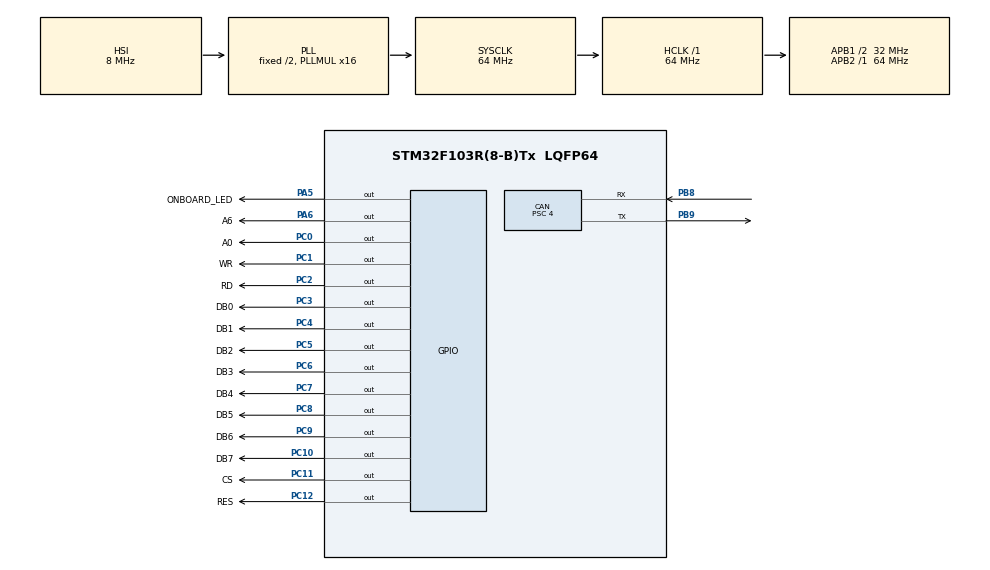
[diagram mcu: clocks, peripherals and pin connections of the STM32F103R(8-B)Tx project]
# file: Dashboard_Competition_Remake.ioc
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CAN.BS1=CAN_BS1_13TQ
CAN.BS2=CAN_BS2_2TQ
CAN.CalculateBaudRate=500000
CAN.CalculateTimeBit=2000
CAN.CalculateTimeQuantum=125.0
CAN.Prescaler=4
Mcu.Family=STM32F1
Mcu.Name=STM32F103R(8-B)Tx
Mcu.Package=LQFP64
NVIC.PriorityGroup=NVIC_PRIORITYGROUP_4
NVIC.USB_LP_CAN1_RX0_IRQn=true\:0\:0\:false\:false\:true\:true\:true\:true
PA5.GPIO_Label=ONBOARD_LED
PA5.Signal=GPIO_Output
PA6.GPIO_Label=A6
PA6.Signal=GPIO_Output
PB8.Mode=CAN_Activate
PB8.Signal=CAN_RX
PB9.Mode=CAN_Activate
PB9.Signal=CAN_TX
PC0.GPIO_Label=A0
PC0.Signal=GPIO_Output
PC1.GPIO_Label=WR
PC1.Signal=GPIO_Output
PC10.GPIO_Label=DB7
PC10.Signal=GPIO_Output
PC11.GPIO_Label=CS
PC11.Signal=GPIO_Output
PC12.GPIO_Label=RES
PC12.Signal=GPIO_Output
PC2.GPIO_Label=RD
PC2.Signal=GPIO_Output
PC3.GPIO_Label=DB0
PC3.Signal=GPIO_Output
PC4.GPIO_Label=DB1
PC4.Signal=GPIO_Output
PC5.GPIO_Label=DB2
PC5.Signal=GPIO_Output
PC6.GPIO_Label=DB3
PC6.Signal=GPIO_Output
PC7.GPIO_Label=DB4
PC7.Signal=GPIO_Output
PC8.GPIO_Label=DB5
PC8.Signal=GPIO_Output
PC9.GPIO_Label=DB6
PC9.Signal=GPIO_Output
ProjectManager.HeapSize=0x200
ProjectManager.StackSize=0x400
ProjectManager.TargetToolchain=STM32CubeIDE
RCC.AHBFreq_Value=64000000
RCC.APB1CLKDivider=RCC_HCLK_DIV2
RCC.APB1Freq_Value=32000000
RCC.APB1TimFreq_Value=64000000
RCC.APB2Freq_Value=64000000
RCC.APB2TimFreq_Value=64000000
RCC.HCLKFreq_Value=64000000
RCC.PLLMUL=RCC_PLL_MUL16
RCC.SYSCLKFreq_VALUE=64000000
RCC.SYSCLKSource=RCC_SYSCLKSOURCE_PLLCLK
RCC.USBFreq_Value=64000000
VP_SYS_VS_ND.Mode=No_Debug
board=custom

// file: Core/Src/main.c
/* USER CODE BEGIN Header */
/**
  ******************************************************************************
  * @file           : main.c
  * @brief          : Main program body
  ******************************************************************************
  * @attention
  *
  * Copyright (c) 2022 STMicroelectronics.
  * All rights reserved.
  *
  * This software is licensed under terms that can be found in the LICENSE file
  * in the root directory of this software component.
  * If no LICENSE file comes with this software, it is provided AS-IS.
  *
  ******************************************************************************
  */
/* USER CODE END Header */
#include "main.h"
#include "can.h"
#include "gpio.h"

/* USER CODE BEGIN Includes */
#include "LCD.h"
#include <time.h>

/* USER CODE END Includes */

/* USER CODE BEGIN PM */

#define TRUE 1
#define FALSE 0

#define MC_BASE 0x500
#define BATT_BASE 0x620
#define ARR_BASE 0x700
#define MCB_BASE 0x400
#define LV_BASE 0x450
#define FAULTS 0x622

#define CRUISE_TARGET 234 // Placeholder values
#define REGEN 543 // Placeholder values

#define FILTER_LEN 9

#define NUM_PAGES 4
#define PAGE_0 0
#define PAGE_1 1
#define PAGE_2 2
#define PAGE_3 3

#define TIMEOUT 10

#define GETBIT(var, bit)	(((var) >> (bit)) & 1) // gives bit position

/* USER CODE END PM */

/* USER CODE BEGIN PV */

CAN_FilterTypeDef CAN_filter0;
CAN_FilterTypeDef CAN_filter1;

CAN_RxHeaderTypeDef CAN_rx_header;
uint8_t CAN_rx_data[8];

union {
	float float_var;
	uint8_t chars[4];
}vel;

union {
	float float_var;
	uint8_t chars[4];
}cur;

union {
	float float_var;
	uint8_t chars[4];
} u;

uint8_t recent_warnings[4]; // [LV Warn, HV Warn, LT Warn, HT Warn]

/* USER CODE END PV */

void SystemClock_Config(void);

/* USER CODE BEGIN 0 */

/**
 * Initialize Dashboard LED lights
 */
void InitLEDs(void)
{

	RCC->APB2ENR |= 0x1UL << 2; 		//Initialize clock for GPIOA, if it hasn't been initialized yet
	GPIOA->CRL &= 0;
	GPIOA->CRH &= 0;
	GPIOA->CRL |= 0x33330033UL;			//Set pins A1, A4, A5, A6, A7 to be Push-Pull Output, 50Mhz
	GPIOA->CRH |= 0x30033333UL;			//SetBar pins A8, A9, A10 to be Push-Pull Output, 50Mhz

	RCC->APB2ENR |= 0x1;
	AFIO->MAPR |= 0x2 << 24;
	//GPIOA->BSRR = 0xFFFF;

	//GPIOA->BSRR = 0x1 << 11;

	GPIOA->BRR = 0xFFFF;

}

/**
 * Called when warning CAN message received
 * Updates recent_warnings array with latest warnings
 */
void parse_warnings(void)
{
	uint8_t temp_byte = CAN_rx_data[1]; // Contains bits 8-15, 15 14 13 12 11 10 9 8
	uint8_t low_voltage_warning = GETBIT(temp_byte, 6);
	uint8_t high_voltage_warning = GETBIT(temp_byte, 7);
	uint8_t low_temperature_warning = GETBIT(temp_byte, 8);

	temp_byte = CAN_rx_data[2]; // Contains bits 16-23, 23 22 21 20 19 18 17 16
	uint8_t high_temperature_warning = GETBIT(temp_byte, 0);

	/* Update Warnings */
	recent_warnings[0] = low_voltage_warning;
	recent_warnings[1] = high_voltage_warning;
	recent_warnings[2] = low_temperature_warning;
	recent_warnings[3] = high_temperature_warning;
}

/* USER CODE END 0 */

int main(void)
{
  /* USER CODE BEGIN 1 */

  int32_t tempInt32;
  uint8_t c = 0;
  uint8_t d = 0;

  /* USER CODE END 1 */

  /* MCU Configuration--------------------------------------------------------*/

  /* Reset of all peripherals, Initializes the Flash interface and the Systick. */
  HAL_Init();

  /* USER CODE BEGIN Init */

  /*
   * Page Layout
   * Page 0: Main Page
   * Page 1: Warnings
   * Page 2: Current Summary
   * Page 3: Pack Summary (Voltage + Temperature)
   */

  // Page initialized to Page 0
  uint8_t current_page = 2;

  /* USER CODE END Init */

  /* Configure the system clock */
  SystemClock_Config();

  /* Initialize all configured peripherals */
  MX_GPIO_Init();
  MX_CAN_Init();
  /* USER CODE BEGIN 2 */

  CanFilterSetup();
  HAL_CAN_Start(&hcan);

  // Commented Clock Setup as it is already done in the ioc
  //Setup System Clock C
  // RCC->APB2ENR &= 0;
  // RCC->APB2ENR |= 0x1UL << 4;

  // Commented Pinout setup as it is already done in the ioc
  //Setup Pins C5 - C12 as OUTPUT
  // GPIOC->CRL &= 0;
  // GPIOC->CRH &= 0;
  // GPIOC->CRL |= 0x33333333UL; //Initialise C0 to C7
  // GPIOC->CRH |= 0x33333UL; //Initialise C8 to C12

  //Set Pin initial values
  GPIOC->BSRR = 0x1UL << 0;	 // C0 HIGH
  GPIOC->BSRR = 0x1UL << 1;	 // C1 HIGH
  GPIOC->BSRR = 0x1UL << 2;	 // C2 HIGH
  GPIOC->BRR = 0x1UL << 11;	 // C11 LOW
  GPIOC->BSRR = 0x1UL << 12;   //C12 HIGH

  ScreenSetup();

  // Check if this is required!
  InitLEDs();

  /* USER CODE END 2 */

  /* Infinite loop */
  /* USER CODE BEGIN WHILE */
  while (1)
  {
		HAL_GPIO_WritePin(GPIOA, GPIO_PIN_6, 1);
		HAL_Delay(1000);
		HAL_GPIO_WritePin(GPIOA, GPIO_PIN_6, 0);
		HAL_Delay(1000);

	// Check if message is available
//	if (HAL_CAN_GetRxFifoFillLevel(&hcan, CAN_RX_FIFO0) != 0)
	if (1)
	{
		// Populate CAN header and data variables (CAN_rx_header/data is updated respectively)
		//HAL_CAN_GetRxMessage(&hcan, CAN_RX_FIFO0, &CAN_rx_header, CAN_rx_data);

//		uint16_t received_CAN_ID = (uint16_t) CAN_rx_header.StdId;
		uint16_t received_CAN_ID = 0x622;

		/* Check for CAN message that is incoming to change the page
		 * This CAN message comes from the MCB
		 * The current_page is simply incremented by +1.
		 * if (current_page + 1 == NUM_PAGES) set current_page = 0
		 */

		uint8_t button_pressed = FALSE;
		uint8_t cruise_enabled = FALSE;

		if (received_CAN_ID == MCB_BASE)
		{
			/* Check for Button Press
			 * Bit 0 = button press event
			 * Bit 1 = cruise enabled
			 */
			uint8_t mcb_data = CAN_rx_data[0];

			/* For Cruise Enabled:
			 * - If Enabled, display the cruise velocity on page 1
			 * - If Disabled, display "OFF" instead of speed
			 */

			if (mcb_data == 1) { // binary 01
				button_pressed = TRUE;
			} else if (mcb_data == 3) { // binary 11
				button_pressed = TRUE;
				cruise_enabled = TRUE;
			} else if (mcb_data == 2){ // binary 10
				cruise_enabled = TRUE;
			} // any other cases, don't need to reassign.
		}

		if (button_pressed) {
			current_page = current_page + 1; // Increment page
			if (current_page == NUM_PAGES) current_page = 0; // Reset to 0 if changing from last page
			button_pressed = FALSE; // Set back to False
		}

		if (received_CAN_ID == FAULTS) {
			// Add parse faults function, and output to GPIO
		}

		// Switch by page
		// If parsed message is not on the current page, it is ignored
		switch(current_page)
		{
			case PAGE_0: // main page
				UpdateScreenTitles(PAGE_0);
				switch(received_CAN_ID)
				{
					case (BATT_BASE + 4): // SOC
//						UpdateScreenParameter(SOC_DATA_XPOS, SOC_DATA_YPOS, (int8_t) 100, 0, FALSE);
						UpdateScreenParameter(SOC_DATA_XPOS, SOC_DATA_YPOS, (int8_t) CAN_rx_data[0], 0, FALSE);
						break;
					case CRUISE_TARGET: // Change MACRO
						UpdateScreenParameter(CRUISE_DATA_XPOS, CRUISE_DATA_YPOS, (int8_t) 80, 5, TRUE);
						// Add data parameter
						break;
					case (MC_BASE + 3): // Vehicle Velocity
						u.chars[0] = CAN_rx_data[4];
						u.chars[1] = CAN_rx_data[5];
						u.chars[2] = CAN_rx_data[6];
						u.chars[3] = CAN_rx_data[7];

						u.float_var = u.float_var * -3.6;
						tempInt32 = (int32_t) u.float_var;

						if (u.float_var < 0)
						{
							u.float_var = u.float_var * -1;
						}
//						UpdateScreenParameter(SPEED_DATA_XPOS, SPEED_DATA_YPOS, -45, 7, TRUE);
						UpdateScreenParameter(SPEED_DATA_XPOS, SPEED_DATA_YPOS, tempInt32, ((uint32_t) (u.float_var * 10)) % 10, TRUE);
						break;
					case REGEN: // Change MACRO
						if (cruise_enabled) UpdateScreenParameter(REGEN_DATA_XPOS, REGEN_DATA_YPOS, 50, 0, FALSE);
						else {
							OutputString("     ", REGEN_DATA_XPOS, REGEN_DATA_YPOS); // Clear
							OutputString("OFF", REGEN_DATA_XPOS, REGEN_DATA_YPOS); // Write "OFF"
						}
						break;
					case FAULTS: ;
						/* ADD recent Warning on bottom line of page 0 */
						parse_warnings();
						/* Add code to update page 0 bottom line */

					default:
						// CAN message read is not part of the current page, Ignore.
						break;

				}
				break;
			case PAGE_1: // warnings
				UpdateScreenTitles(PAGE_1);
				switch(received_CAN_ID)
				{
					case (FAULTS): ; // need semicolon as have declaration after colon :
						/* Check which warning message
						 * Bit 13 = Low Voltage Warning
						 * Bit 14 = High Voltage Warning
						 * Bit 15 = Low Temperature Warning
						 * Bit 16 = High Temperature Warning
						 */
						CAN_rx_data[1] = 64; // to toggle high voltage warning high
						parse_warnings();

						if (recent_warnings[0]) { // Low Voltage Warning
							OutputString("     ", LV_WARN_DATA_XPOS, LV_WARN_DATA_YPOS); // Clear
							OutputString("YES", LV_WARN_DATA_XPOS, LV_WARN_DATA_YPOS); // Write "YES"
						} else {
							OutputString("     ", LV_WARN_DATA_XPOS, LV_WARN_DATA_YPOS); // Clear
							OutputString("---", LV_WARN_DATA_XPOS, LV_WARN_DATA_YPOS); // Write "---"
						}
						if (recent_warnings[1]) { // High Voltage Warning
							OutputString("     ", HV_WARN_DATA_XPOS, HV_WARN_DATA_YPOS); // Clear
							OutputString("YES", HV_WARN_DATA_XPOS, HV_WARN_DATA_YPOS); // Write "YES"
						} else {
							OutputString("     ", HV_WARN_DATA_XPOS, HV_WARN_DATA_YPOS); // Clear
							OutputString("---", HV_WARN_DATA_XPOS, HV_WARN_DATA_YPOS); // Write "---"
						}
						if (recent_warnings[2]) { // Low Temperature Warning
							OutputString("     ", LT_WARN_DATA_XPOS, LT_WARN_DATA_YPOS); // Clear
							OutputString("YES", LT_WARN_DATA_XPOS, LT_WARN_DATA_YPOS); // Write "YES"
						} else {
							OutputString("     ", LT_WARN_DATA_XPOS, LT_WARN_DATA_YPOS); // Clear
							OutputString("---", LT_WARN_DATA_XPOS, LT_WARN_DATA_YPOS); // Write "---"
						}
						if (recent_warnings[3]) { // High Temperature Warning
							OutputString("     ", HT_WARN_DATA_XPOS, HT_WARN_DATA_YPOS); // Clear
							OutputString("YES", HT_WARN_DATA_XPOS, HT_WARN_DATA_YPOS); // Write "YES"
						} else {
							OutputString("     ", HT_WARN_DATA_XPOS, HT_WARN_DATA_YPOS); // Clear
							OutputString("---", HT_WARN_DATA_XPOS, HT_WARN_DATA_YPOS); // Write "---"
						}

						break;
					default:
						// CAN message read is not part of the current page, Ignore.
						break;
				}

				break;
			case PAGE_2: // Current Summary
				UpdateScreenTitles(PAGE_2);
				switch(received_CAN_ID)
				{
					case (MCB_BASE + 1): // Motor Current
						// Upper 4 bytes of data
						u.chars[0] = CAN_rx_data[4];
						u.chars[1] = CAN_rx_data[5];
						u.chars[2] = CAN_rx_data[6];
						u.chars[3] = CAN_rx_data[7];
						tempInt32 = (int32_t) u.float_var;
						UpdateScreenParameter(MOTOR_CURRENT_DATA_XPOS, MOTOR_CURRENT_DATA_YPOS, tempInt32, 0, FALSE); // percentage of max current
						break;
					case (ARR_BASE + 2): // Array Current
						// Using Sensor 2 Data
						// Upper 4 bytes of data
						u.chars[0] = CAN_rx_data[4];
						u.chars[1] = CAN_rx_data[5];
						u.chars[2] = CAN_rx_data[6];
						u.chars[3] = CAN_rx_data[7];
						tempInt32 = (int32_t) u.float_var;
						UpdateScreenParameter(ARRAY_CURRENT_DATA_XPOS, ARRAY_CURRENT_DATA_YPOS, tempInt32, ((uint32_t) (u.float_var * 10)) % 10, TRUE); // Float
						break;
					case (LV_BASE): // Array Current
						// Using Sensor 2 Data
						// 2nd lowest byte
						UpdateScreenParameter(ARRAY_CURRENT_DATA_XPOS, ARRAY_CURRENT_DATA_YPOS, CAN_rx_data[1], 0, FALSE);
						break;
					case (MCB_BASE + 2): // Bus Current
						// Upper 4 bytes of data
						u.chars[0] = CAN_rx_data[4];
						u.chars[1] = CAN_rx_data[5];
						u.chars[2] = CAN_rx_data[6];
						u.chars[3] = CAN_rx_data[7];
						tempInt32 = (int32_t) u.float_var;
						UpdateScreenParameter(BUS_CURRENT_DATA_XPOS, BUS_CURRENT_DATA_YPOS, tempInt32, 0, FALSE); // percentage of max current
						break;
					default:
						// CAN message read is not part of the current page, Ignore.
						break;
				}
				break;
			case PAGE_3: // Pack Summary (Voltage + Temperature)
				UpdateScreenTitles(PAGE_3);
				switch(received_CAN_ID)
				{
					default:
						// CAN message read is not part of the current page, Ignore.
						break;
				}
				break;
			default:
				// Should never reach here.
				break;
		}

	}

    /* USER CODE END WHILE */

  }
}

void SystemClock_Config(void)
{
  RCC_OscInitTypeDef RCC_OscInitStruct = {0};
  RCC_ClkInitTypeDef RCC_ClkInitStruct = {0};

  /** Initializes the RCC Oscillators according to the specified parameters
  * in the RCC_OscInitTypeDef structure.
  */
  RCC_OscInitStruct.OscillatorType = RCC_OSCILLATORTYPE_HSI;
  RCC_OscInitStruct.HSIState = RCC_HSI_ON;
  RCC_OscInitStruct.HSICalibrationValue = RCC_HSICALIBRATION_DEFAULT;
  RCC_OscInitStruct.PLL.PLLState = RCC_PLL_ON;
  RCC_OscInitStruct.PLL.PLLSource = RCC_PLLSOURCE_HSI_DIV2;
  RCC_OscInitStruct.PLL.PLLMUL = RCC_PLL_MUL16;
  if (HAL_RCC_OscConfig(&RCC_OscInitStruct) != HAL_OK)
  {
    Error_Handler();
  }

  /** Initializes the CPU, AHB and APB buses clocks
  */
  RCC_ClkInitStruct.ClockType = RCC_CLOCKTYPE_HCLK|RCC_CLOCKTYPE_SYSCLK
                              |RCC_CLOCKTYPE_PCLK1|RCC_CLOCKTYPE_PCLK2;
  RCC_ClkInitStruct.SYSCLKSource = RCC_SYSCLKSOURCE_PLLCLK;
  RCC_ClkInitStruct.AHBCLKDivider = RCC_SYSCLK_DIV1;
  RCC_ClkInitStruct.APB1CLKDivider = RCC_HCLK_DIV2;
  RCC_ClkInitStruct.APB2CLKDivider = RCC_HCLK_DIV1;

  if (HAL_RCC_ClockConfig(&RCC_ClkInitStruct, FLASH_LATENCY_2) != HAL_OK)
  {
    Error_Handler();
  }
}

void Error_Handler(void)
{
  __disable_irq();
  while (1)
  {
  }
}
